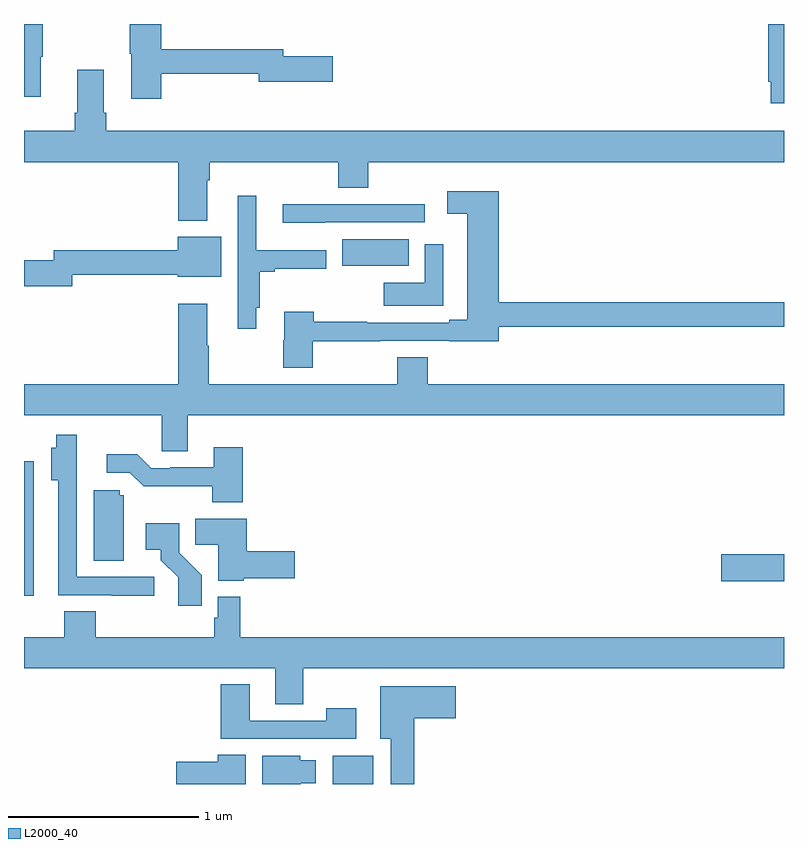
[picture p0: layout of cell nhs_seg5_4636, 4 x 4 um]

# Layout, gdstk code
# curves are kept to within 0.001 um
import gdstk
lib = gdstk.Library(unit=1e-6, precision=1e-09)
def R(c, l, rs):  # rectangles x0, y0, x1, y1
    for r in rs: c.add(gdstk.rectangle(r[:2], r[2:], *l))
def P(c, l, *ps):  # polygons
    for p in ps: c.add(gdstk.Polygon(p, *l))
L2000_40 = (2000, 40)

nhs_seg5_4636 = lib.new_cell('nhs_seg5_4636')
R(nhs_seg5_4636, L2000_40, [(384.626,874.799,384.838,874.948), (383,875.789,383.05,876.499), (386.67,875.866,387,876.008), (384.676,877.526,385.025,877.666)])
P(nhs_seg5_4636, L2000_40, [(387,878.799),(386.918,878.799),(386.918,878.494),(386.93,878.494),(386.93,878.382),(387,878.382)],
  [(383.723,878.538),(384.236,878.538),(384.236,878.495),(384.625,878.495),(384.625,878.63),(384.364,878.63),(384.364,878.666),(383.723,878.666),(383.723,878.799),(383.557,878.799),(383.557,878.643),(383.564,878.643),(383.564,878.406),(383.723,878.406)],
  [(383.087,878.627),(383.098,878.627),(383.098,878.799),(383,878.799),(383,878.415),(383.087,878.415)],
  [(383.965,877.976),(383.978,877.976),(383.978,878.072),(384.653,878.072),(384.653,877.936),(384.813,877.936),(384.813,878.072),(387,878.072),(387,878.236),(383.432,878.236),(383.432,878.332),(383.419,878.332),(383.419,878.557),(383.279,878.557),(383.279,878.332),(383.267,878.332),(383.267,878.236),(383,878.236),(383,878.072),(383.813,878.072),(383.813,877.763),(383.965,877.763)],
  [(384.519,877.129),(384.875,877.129),(384.875,877.131),(385.238,877.131),(385.238,877.129),(385.499,877.129),(385.499,877.206),(387,877.206),(387,877.334),(385.499,877.334),(385.499,877.918),(385.227,877.918),(385.227,877.801),(385.334,877.801),(385.334,877.243),(385.238,877.243),(385.238,877.227),(384.806,877.227),(384.806,877.232),(384.524,877.232),(384.524,877.285),(384.371,877.285),(384.371,877.134),(384.364,877.134),(384.364,876.99),(384.519,876.99)],
  [(384.223,877.306),(384.242,877.306),(384.242,877.496),(384.319,877.496),(384.319,877.51),(384.591,877.51),(384.591,877.609),(384.223,877.609),(384.223,877.894),(384.126,877.894),(384.126,877.415),(384.125,877.415),(384.125,877.194),(384.223,877.194)],
  [(384.582,877.755),(385.108,877.755),(385.108,877.851),(384.363,877.851),(384.363,877.754),(384.582,877.754)],
  [(383.253,877.48),(383.81,877.48),(383.81,877.469),(384.037,877.469),(384.037,877.678),(383.81,877.678),(383.81,877.609),(383.157,877.609),(383.157,877.556),(383,877.556),(383,877.42),(383.253,877.42)],
  [(385.206,877.639),(385.11,877.639),(385.11,877.438),(384.894,877.438),(384.894,877.317),(385.206,877.317)],
  [(383.863,876.74),(387,876.74),(387,876.904),(385.124,876.904),(385.124,877.046),(384.964,877.046),(384.964,876.904),(383.973,876.904),(383.973,877.106),(383.965,877.106),(383.965,877.327),(383.813,877.327),(383.813,876.904),(383,876.904),(383,876.74),(383.724,876.74),(383.724,876.55),(383.863,876.55)],
  [(383.686,875.889),(383.277,875.889),(383.277,876.414),(383.278,876.414),(383.278,876.637),(383.169,876.637),(383.169,876.568),(383.144,876.568),(383.144,876.398),(383.18,876.398),(383.18,875.793),(383.461,875.793),(383.461,875.791),(383.686,875.791)],
  [(384.152,876.571),(383.999,876.571),(383.999,876.465),(383.77,876.465),(383.77,876.462),(383.67,876.462),(383.597,876.535),(383.436,876.535),(383.436,876.438),(383.556,876.438),(383.629,876.365),(383.992,876.366),(383.992,876.281),(384.152,876.281)],
  [(383.524,876.318),(383.505,876.318),(383.505,876.345),(383.366,876.345),(383.366,875.974),(383.524,875.974)],
  [(384.156,875.881),(384.424,875.881),(384.424,876.023),(384.173,876.023),(384.173,876.196),(383.902,876.196),(383.902,876.058),(384.023,876.058),(384.023,875.87),(384.156,875.87)],
  [(383.936,875.898),(383.817,876.017),(383.817,876.172),(383.64,876.172),(383.64,876.032),(383.72,876.032),(383.72,875.977),(383.811,875.887),(383.811,875.736),(383.936,875.736)],
  [(384.471,875.408),(387,875.408),(387,875.572),(384.137,875.572),(384.137,875.785),(384.021,875.785),(384.021,875.673),(384.001,875.673),(384.001,875.572),(383.378,875.572),(383.378,875.708),(383.213,875.708),(383.213,875.572),(383,875.572),(383,875.408),(384.323,875.408),(384.323,875.218),(384.471,875.218)],
  [(384.748,875.197),(384.592,875.197),(384.592,875.133),(384.187,875.133),(384.187,875.323),(384.035,875.323),(384.035,875.037),(384.748,875.037)],
  [(385.055,875.144),(385.273,875.144),(385.273,875.314),(384.875,875.314),(384.875,875.036),(384.929,875.036),(384.929,874.799),(385.055,874.799)],
  [(384.166,874.952),(384.02,874.952),(384.02,874.916),(383.802,874.916),(383.802,874.799),(384.166,874.799)],
  [(384.457,874.802),(384.535,874.802),(384.535,874.924),(384.453,874.924),(384.453,874.948),(384.254,874.948),(384.254,874.799),(384.457,874.799)])

lib.write_gds('nhs_seg5_4636.gds')
